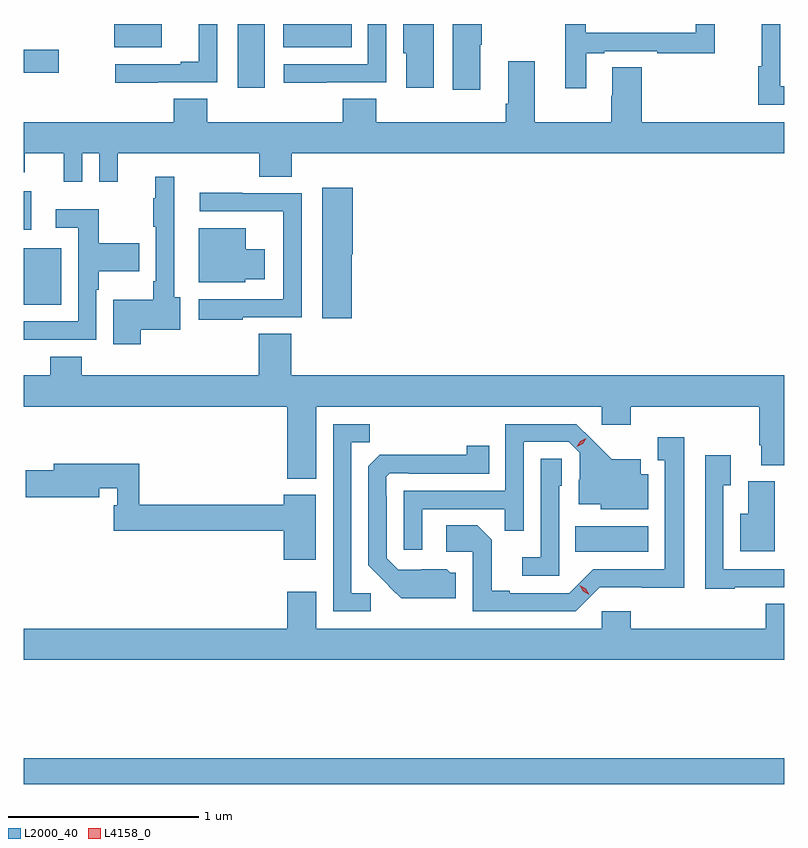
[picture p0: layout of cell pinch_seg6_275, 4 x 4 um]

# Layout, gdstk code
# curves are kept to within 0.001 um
import gdstk
lib = gdstk.Library(unit=1e-6, precision=1e-09)
def R(c, l, rs):  # rectangles x0, y0, x1, y1
    for r in rs: c.add(gdstk.rectangle(r[:2], r[2:], *l))
def P(c, l, *ps):  # polygons
    for p in ps: c.add(gdstk.Polygon(p, *l))
L2000_40 = (2000, 40)
L4158_0 = (4158, 0)

pinch_seg6_275 = lib.new_cell('pinch_seg6_275')
R(pinch_seg6_275, L2000_40, [(829.328,983.98,833.328,984.116), (832.228,985.202,832.612,985.336), (829.328,986.501,829.525,986.797), (829.328,986.895,829.369,987.097), (830.453,987.642,830.596,987.976), (829.328,987.719,829.513,987.841), (829.805,987.854,830.053,987.976), (830.693,987.854,831.053,987.976)])
P(pinch_seg6_275, L2000_40, [(830.921,987.669),(831.234,987.669),(831.234,987.976),(831.138,987.976),(831.138,987.765),(830.697,987.765),(830.697,987.668),(830.921,987.668)],
  [(831.73,987.868),(831.738,987.868),(831.738,987.976),(831.584,987.976),(831.584,987.63),(831.73,987.63)],
  [(833.328,987.648),(833.307,987.648),(833.307,987.976),(833.209,987.976),(833.209,987.755),(833.191,987.755),(833.191,987.552),(833.328,987.552)],
  [(831.484,987.976),(831.323,987.976),(831.323,987.822),(831.341,987.822),(831.341,987.642),(831.484,987.642)],
  [(832.285,987.822),(832.381,987.822),(832.381,987.834),(832.66,987.834),(832.66,987.822),(832.962,987.822),(832.962,987.976),(832.863,987.976),(832.863,987.93),(832.284,987.93),(832.284,987.976),(832.176,987.976),(832.176,987.883),(832.175,987.883),(832.175,987.639),(832.285,987.639)],
  [(830.033,987.669),(830.346,987.669),(830.346,987.976),(830.249,987.976),(830.249,987.778),(830.153,987.778),(830.153,987.765),(829.809,987.765),(829.809,987.668),(830.033,987.668)],
  [(829.635,987.296),(829.725,987.296),(829.725,987.147),(829.823,987.147),(829.823,987.296),(830.566,987.296),(830.566,987.172),(830.738,987.172),(830.738,987.296),(833.328,987.296),(833.328,987.46),(832.577,987.46),(832.577,987.749),(832.424,987.749),(832.424,987.599),(832.417,987.599),(832.417,987.46),(832.015,987.46),(832.015,987.781),(831.875,987.781),(831.875,987.556),(831.863,987.556),(831.863,987.46),(831.182,987.46),(831.182,987.584),(831.005,987.584),(831.005,987.46),(830.294,987.46),(830.294,987.584),(830.117,987.584),(830.117,987.46),(829.328,987.46),(829.328,987.197),(829.333,987.197),(829.333,987.296),(829.538,987.296),(829.538,987.147),(829.635,987.147)],
  [(829.943,986.369),(830.152,986.369),(830.152,986.54),(830.119,986.54),(830.119,987.172),(830.021,987.172),(830.021,987.059),(830.01,987.059),(830.01,986.911),(830.022,986.911),(830.022,986.623),(830.01,986.623),(830.01,986.527),(829.799,986.527),(829.799,986.292),(829.943,986.292)],
  [(831.053,986.766),(831.058,986.766),(831.058,987.115),(830.897,987.115),(830.897,986.43),(831.053,986.43)],
  [(830.48,986.433),(830.79,986.433),(830.79,987.087),(830.477,987.087),(830.477,987.089),(830.253,987.089),(830.253,986.991),(830.693,986.991),(830.693,986.99),(830.694,986.99),(830.694,986.529),(830.25,986.529),(830.25,986.421),(830.48,986.421)],
  [(829.385,986.316),(829.71,986.316),(829.71,986.579),(829.723,986.579),(829.723,986.675),(829.937,986.675),(829.937,986.823),(829.723,986.823),(829.723,987.001),(829.497,987.001),(829.497,986.904),(829.614,986.904),(829.614,986.412),(829.328,986.412),(829.328,986.315),(829.385,986.315)],
  [(830.493,986.633),(830.596,986.633),(830.596,986.791),(830.497,986.791),(830.497,986.902),(830.249,986.902),(830.249,986.618),(830.493,986.618)],
  [(830.866,985.964),(832.368,985.964),(832.368,985.869),(832.52,985.869),(832.52,985.964),(833.195,985.964),(833.195,985.762),(833.207,985.762),(833.207,985.657),(833.328,985.657),(833.328,986.128),(830.735,986.128),(830.735,986.348),(830.564,986.348),(830.564,986.128),(829.634,986.128),(829.634,986.227),(829.469,986.227),(829.469,986.128),(829.328,986.128),(829.328,985.964),(830.714,985.964),(830.714,985.586),(830.866,985.586)],
  [(831.154,984.984),(831.051,984.984),(831.051,985.777),(831.147,985.777),(831.147,985.872),(830.955,985.872),(830.955,984.888),(831.154,984.888)],
  [(831.423,985.425),(831.859,985.425),(831.859,985.312),(831.957,985.312),(831.957,985.779),(832.194,985.779),(832.251,985.722),(832.251,985.58),(832.247,985.58),(832.247,985.451),(832.362,985.451),(832.362,985.424),(832.612,985.424),(832.612,985.609),(832.573,985.609),(832.573,985.687),(832.421,985.687),(832.234,985.872),(831.861,985.872),(831.861,985.521),(831.327,985.521),(831.327,985.212),(831.423,985.212)],
  [(832.356,985.014),(832.801,985.013),(832.801,985.804),(832.661,985.804),(832.661,985.683),(832.7,985.683),(832.7,985.11),(832.323,985.11),(832.197,984.984),(831.883,984.984),(831.883,984.997),(831.789,984.997),(831.789,985.264),(831.713,985.34),(831.549,985.34),(831.549,985.2),(831.69,985.2),(831.69,984.888),(832.23,984.888)],
  [(831.601,985.092),(831.57,985.092),(831.554,985.108),(831.297,985.107),(831.237,985.167),(831.237,985.496),(831.234,985.496),(831.234,985.596),(831.252,985.614),(831.352,985.614),(831.352,985.611),(831.776,985.611),(831.776,985.759),(831.658,985.759),(831.658,985.712),(831.2,985.711),(831.141,985.652),(831.141,985.13),(831.313,984.956),(831.601,984.956)],
  [(833.067,985.014),(833.328,985.014),(833.328,985.11),(833.007,985.11),(833.007,985.552),(833.047,985.552),(833.047,985.708),(832.911,985.708),(832.911,985.007),(833.067,985.007)],
  [(832.143,985.548),(832.158,985.548),(832.158,985.691),(832.047,985.691),(832.047,985.171),(831.951,985.171),(831.951,985.074),(832.143,985.074)],
  [(830.863,985.501),(830.696,985.501),(830.696,985.448),(829.937,985.448),(829.937,985.663),(829.487,985.663),(829.487,985.629),(829.338,985.629),(829.338,985.487),(829.726,985.487),(829.726,985.534),(829.821,985.534),(829.821,985.446),(829.801,985.446),(829.801,985.312),(830.696,985.312),(830.696,985.158),(830.863,985.158)],
  [(833.278,985.572),(833.138,985.572),(833.138,985.402),(833.096,985.402),(833.096,985.205),(833.278,985.205)],
  [(833.328,984.929),(833.231,984.929),(833.231,984.796),(832.52,984.796),(832.52,984.889),(832.368,984.889),(832.368,984.796),(830.866,984.796),(830.866,984.991),(830.714,984.991),(830.714,984.796),(829.328,984.796),(829.328,984.632),(833.328,984.632)])
P(pinch_seg6_275, L4158_0, [(832.302,984.975),(832.27,984.993),(832.252,985.025),(832.252,985.026),(832.252,985.026),(832.284,985.007),(832.302,984.975),(832.302,984.975)],
  [(832.236,985.753),(832.236,985.753),(832.254,985.782),(832.285,985.797),(832.285,985.797),(832.285,985.797),(832.268,985.768),(832.237,985.753)])

lib.write_gds('pinch_seg6_275.gds')
